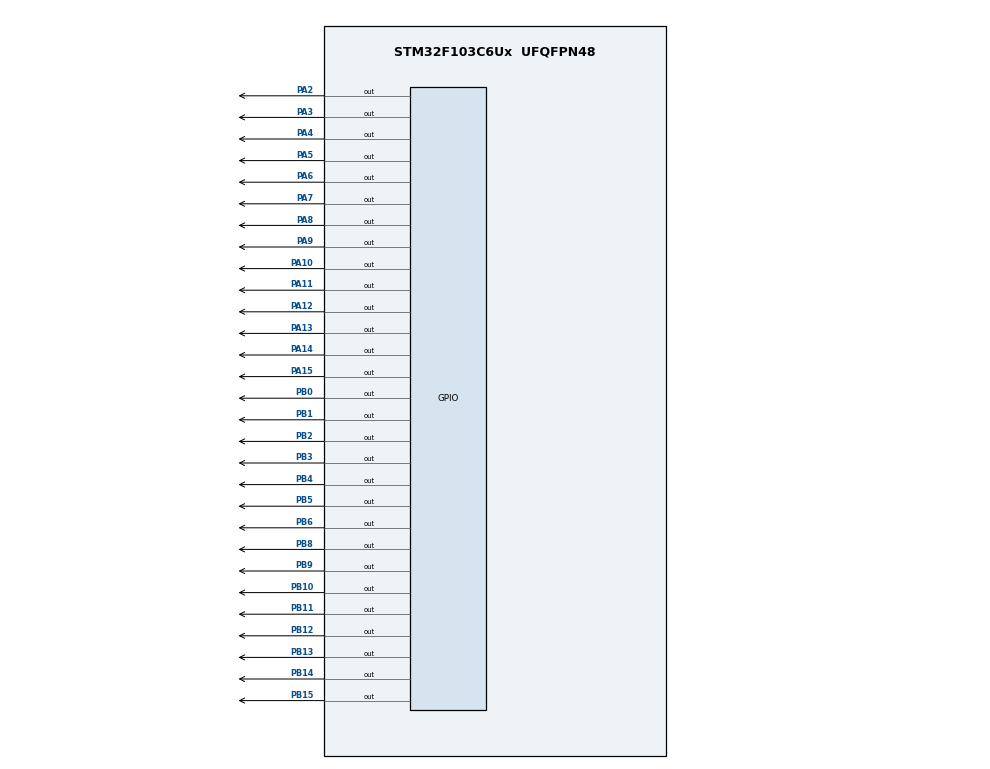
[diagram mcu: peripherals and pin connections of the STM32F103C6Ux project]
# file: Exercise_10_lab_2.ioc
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Mcu.Family=STM32F1
Mcu.Name=STM32F103C6Ux
Mcu.Package=UFQFPN48
NVIC.PriorityGroup=NVIC_PRIORITYGROUP_4
NVIC.TIM2_IRQn=true\:0\:0\:false\:false\:true\:true\:true
PA10.Signal=GPIO_Output
PA11.Signal=GPIO_Output
PA12.Signal=GPIO_Output
PA13.Signal=GPIO_Output
PA14.Signal=GPIO_Output
PA15.Signal=GPIO_Output
PA2.Signal=GPIO_Output
PA3.Signal=GPIO_Output
PA4.Signal=GPIO_Output
PA5.Signal=GPIO_Output
PA6.Signal=GPIO_Output
PA7.Signal=GPIO_Output
PA8.Signal=GPIO_Output
PA9.Signal=GPIO_Output
PB0.Signal=GPIO_Output
PB1.Signal=GPIO_Output
PB10.Signal=GPIO_Output
PB11.Signal=GPIO_Output
PB12.Signal=GPIO_Output
PB13.Signal=GPIO_Output
PB14.Signal=GPIO_Output
PB15.Signal=GPIO_Output
PB2.Signal=GPIO_Output
PB3.Signal=GPIO_Output
PB4.Signal=GPIO_Output
PB5.Signal=GPIO_Output
PB6.Signal=GPIO_Output
PB8.Signal=GPIO_Output
PB9.Signal=GPIO_Output
ProjectManager.HeapSize=0x200
ProjectManager.StackSize=0x400
ProjectManager.TargetToolchain=STM32CubeIDE
RCC.APB1Freq_Value=8000000
RCC.APB2Freq_Value=8000000
TIM2.Period=9
TIM2.Prescaler=7999
VP_SYS_VS_ND.Mode=No_Debug
VP_TIM2_VS_ClockSourceINT.Mode=Internal
board=custom

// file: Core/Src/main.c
/* USER CODE BEGIN Header */
/**
  ******************************************************************************
  * @file           : main.c
  * @brief          : Main program body
  ******************************************************************************
  * @attention
  *
  * <h2><center>&copy; Copyright (c) 2026 STMicroelectronics.
  * All rights reserved.</center></h2>
  *
  * This software component is licensed by ST under BSD 3-Clause license,
  * the "License"; You may obtain a copy of the License at:
  *                        opensource.org/licenses/BSD-3-Clause
  *
  ******************************************************************************
  */
/* USER CODE END Header */

#include "main.h"

TIM_HandleTypeDef htim2;

/* USER CODE BEGIN PV */

const int MAX_LED = 4;

int index_led = 0;
int led_buffer[4] = {1, 2, 3, 4};
int hour = 15, minute = 53, second = 50;
const int global_delay = 25;

int delay = global_delay; //changed delay here (1) cycle_time / 10
uint8_t led_count = 0;

GPIO_TypeDef *segPorts[7] =
{
    GPIOB, GPIOB, GPIOB,
    GPIOB, GPIOB, GPIOB, GPIOB
};

uint16_t segPins[7] =
{
    GPIO_PIN_0,
    GPIO_PIN_1,
    GPIO_PIN_2,
    GPIO_PIN_3,
    GPIO_PIN_4,
    GPIO_PIN_5,
    GPIO_PIN_6
};

/* MATRIX_BEGIN ------------------------------------------------------------- */
/* LED matrix: ENM0..ENM7 (column enables through the ULN2803) are on
 * PA2, PA3, PA10, PA11, PA12, PA13, PA14, PA15; ROW0..ROW7 are on PB8..PB15. */
const int MAX_LED_MATRIX = 8;
int index_led_matrix = 0;

/* One byte per COLUMN: bit k = ROWk (bit 0 = ROW0 = PB8). Letter "A". */
uint8_t matrix_buffer[8] = {0x00, 0xFC, 0x12, 0x11, 0x11, 0x12, 0xFC, 0x00};

GPIO_TypeDef *enmPorts[8] =
{
    GPIOA, GPIOA, GPIOA, GPIOA, GPIOA, GPIOA, GPIOA, GPIOA
};

uint16_t enmPins[8] =
{
    GPIO_PIN_2, GPIO_PIN_3, GPIO_PIN_10, GPIO_PIN_11,
    GPIO_PIN_12, GPIO_PIN_13, GPIO_PIN_14, GPIO_PIN_15
};

#define MATRIX_COL_ON           GPIO_PIN_RESET
#define MATRIX_COL_OFF          GPIO_PIN_SET
#define MATRIX_ROW_ACTIVE_HIGH  0
/* MATRIX_END --------------------------------------------------------------- */

/* USER CODE END PV */

void SystemClock_Config(void);
static void MX_GPIO_Init(void);
static void MX_TIM2_Init(void);

/* USER CODE BEGIN PFP */

void display7SEG(GPIO_TypeDef *ports[7], uint16_t pins[7], uint8_t num);
void update7SEG(int index);
void matrixAllOff(void);
void updateLEDMatrix(int index);
void shiftMatrixLeft(void);

/* USER CODE END PFP */

/* USER CODE BEGIN 0 */
int timer0_counter = 0;
int timer0_flag = 0;
int TIMER_CYCLE = 1;          /* ms per timer tick (TIM2 now ticks every 1 ms) */
int timer1_counter = 0;
int timer1_flag = 0;
int timer2_counter = 0;       /* LED matrix scan timer */
int timer2_flag = 0;
#define MATRIX_SCAN_MS 2      /* one column every 2 ms -> 16 ms per frame (~62 Hz) */
int timer3_counter = 0;       /* animation timer: shifts the picture */
int timer3_flag = 0;
#define MATRIX_SHIFT_MS 200   /* shift the picture one column every 200 ms */

void setTimer0(int duration ){
	timer0_counter = duration / TIMER_CYCLE ;
	timer0_flag = 0;
}
void setTimer1(int duration) {
    timer1_counter = duration / TIMER_CYCLE;
    timer1_flag = 0;
}
void setTimer2(int duration) {
    timer2_counter = duration / TIMER_CYCLE;
    timer2_flag = 0;
}
void setTimer3(int duration) {
    timer3_counter = duration / TIMER_CYCLE;
    timer3_flag = 0;
}
void timer_run() {
    if (timer0_counter > 0) {
        timer0_counter--;
        if (timer0_counter == 0) timer0_flag = 1;
    }
    if (timer1_counter > 0) {
        timer1_counter--;
        if (timer1_counter == 0) timer1_flag = 1;
    }
    if (timer2_counter > 0) {
        timer2_counter--;
        if (timer2_counter == 0) timer2_flag = 1;
    }
    if (timer3_counter > 0) {
        timer3_counter--;
        if (timer3_counter == 0) timer3_flag = 1;
    }
}

void display7SEG(GPIO_TypeDef *ports[7], uint16_t pins[7], uint8_t num)
{
    uint8_t seg[10][7] =
    {
        {0,0,0,0,0,0,1}, // 0
        {1,0,0,1,1,1,1}, // 1
        {0,0,1,0,0,1,0}, // 2
        {0,0,0,0,1,1,0}, // 3
        {1,0,0,1,1,0,0}, // 4
        {0,1,0,0,1,0,0}, // 5
        {0,1,0,0,0,0,0}, // 6
        {0,0,0,1,1,1,1}, // 7
        {0,0,0,0,0,0,0}, // 8
        {0,0,0,0,1,0,0}  // 9
    };

    if (num > 9)
        return;

    for (int i = 0; i < 7; i++)
    {
        HAL_GPIO_WritePin(ports[i], pins[i], seg[num][i]);
    }
}

void update7SEG(int index)
{
    /* Turn all displays off */
    HAL_GPIO_WritePin(GPIOA,
                      GPIO_PIN_6 | GPIO_PIN_7 |
                      GPIO_PIN_8 | GPIO_PIN_9,
                      GPIO_PIN_SET);

    switch (index)
    {
        case 0:
            display7SEG(segPorts, segPins, led_buffer[0]);
            HAL_GPIO_WritePin(GPIOA, GPIO_PIN_6, GPIO_PIN_RESET);
            break;

        case 1:
            display7SEG(segPorts, segPins, led_buffer[1]);
            HAL_GPIO_WritePin(GPIOA, GPIO_PIN_7, GPIO_PIN_RESET);
            break;

        case 2:
            display7SEG(segPorts, segPins, led_buffer[2]);
            HAL_GPIO_WritePin(GPIOA, GPIO_PIN_8, GPIO_PIN_RESET);
            break;

        case 3:
            display7SEG(segPorts, segPins, led_buffer[3]);
            HAL_GPIO_WritePin(GPIOA, GPIO_PIN_9, GPIO_PIN_RESET);
            break;

        default:
            break;
    }
}
void updateClockBuffer(void) {
    led_buffer[0] = hour / 10;
    led_buffer[1] = hour % 10;
    led_buffer[2] = minute / 10;
    led_buffer[3] = minute % 10;
}

/* MATRIX_FUNC_BEGIN -------------------------------------------------------- */
/* Disable every column (ENM pins) */
static void matrixColumnsOff(void)
{
    for (int i = 0; i < 8; i++)
        HAL_GPIO_WritePin(enmPorts[i], enmPins[i], MATRIX_COL_OFF);
}

/* Write 8 row bits to PB8..PB15 in one atomic BSRR write; PB0..PB6 (7-seg)
 * and PB7 are not touched. Bit k of 'bits' = 1 means "light ROWk". */
static void matrixWriteRows(uint8_t bits)
{
    uint8_t out = MATRIX_ROW_ACTIVE_HIGH ? bits : (uint8_t)(~bits);
    /* low half of BSRR sets pins, high half resets pins */
    GPIOB->BSRR = ((uint32_t)(uint8_t)(~out) << 24) | ((uint32_t)out << 8);
}

/* Everything off (call once at start; also makes polarity irrelevant at boot) */
void matrixAllOff(void)
{
    matrixColumnsOff();
    matrixWriteRows(0x00);
}

/* Show column 'index' (0..7): disable all columns first, put that column's
 * data on the rows, then enable only that column, so there is no ghosting. */
void updateLEDMatrix(int index)
{
    matrixColumnsOff();
    switch (index)
    {
        case 0:
        case 1:
        case 2:
        case 3:
        case 4:
        case 5:
        case 6:
        case 7:
            matrixWriteRows(matrix_buffer[index]);
            HAL_GPIO_WritePin(enmPorts[index], enmPins[index], MATRIX_COL_ON);
            break;

        default:
            break;
    }
}

/* Animation step: move the picture one column to the left. Column i takes the
 * data of column i+1 and the old first column re-enters on the right, so the
 * letter scrolls left and wraps around forever. (matrix_buffer is only used
 * from the main loop, so there is no conflict with the scanning code.) */
void shiftMatrixLeft(void)
{
    uint8_t first = matrix_buffer[0];
    for (int i = 0; i < 7; i++)
        matrix_buffer[i] = matrix_buffer[i + 1];
    matrix_buffer[7] = first;
}
/* MATRIX_FUNC_END ---------------------------------------------------------- */

/* USER CODE END 0 */

int main(void)
{

    HAL_Init();

    SystemClock_Config();

    MX_GPIO_Init();
    MX_TIM2_Init();

    /* USER CODE BEGIN 2 */

    /* EN pins are active-low */
    HAL_GPIO_WritePin(GPIOA,
                      GPIO_PIN_6 | GPIO_PIN_7 |
                      GPIO_PIN_8 | GPIO_PIN_9,
                      GPIO_PIN_SET);

    /* Middle LEDs off */
    HAL_GPIO_WritePin(GPIOA, GPIO_PIN_4, GPIO_PIN_RESET);
    matrixAllOff();
    updateClockBuffer();
    HAL_TIM_Base_Start_IT(&htim2);

    /* USER CODE END 2 */

    /* Infinite loop */
    /* USER CODE BEGIN WHILE */
    setTimer0(1000);
    setTimer1(250);
    setTimer2(MATRIX_SCAN_MS);
    setTimer3(MATRIX_SHIFT_MS);
    while (1) {
        /* Update 7-segment display every 250 ms */
        if (timer1_flag == 1) {
            timer1_flag = 0;
            update7SEG(index_led);
            index_led++;
            if (index_led >= MAX_LED) index_led = 0;
            setTimer1(250);
        }
        /* Update clock every 1 second */
        if (timer0_flag == 1) {
            timer0_flag = 0;
            second++;
            if (second >= 60) {
                second = 0;
                minute++;
            }
            if (minute >= 60) {
                minute = 0;
                hour++;
            }
            if (hour >= 24) hour = 0;
            updateClockBuffer();
            HAL_GPIO_TogglePin(GPIOA, GPIO_PIN_4);
            setTimer0(1000);
        }
        /* Scan the LED matrix: one column every MATRIX_SCAN_MS */
        if (timer2_flag == 1) {
            timer2_flag = 0;
            updateLEDMatrix(index_led_matrix);
            index_led_matrix++;
            if (index_led_matrix >= MAX_LED_MATRIX) index_led_matrix = 0;
            setTimer2(MATRIX_SCAN_MS);
        }
        /* Animation: shift the letter one column to the left every MATRIX_SHIFT_MS */
        if (timer3_flag == 1) {
            timer3_flag = 0;
            shiftMatrixLeft();
            setTimer3(MATRIX_SHIFT_MS);
        }
    }
}

void SystemClock_Config(void)
{
    RCC_OscInitTypeDef RCC_OscInitStruct = {0};
    RCC_ClkInitTypeDef RCC_ClkInitStruct = {0};

    RCC_OscInitStruct.OscillatorType = RCC_OSCILLATORTYPE_HSI;
    RCC_OscInitStruct.HSIState = RCC_HSI_ON;
    RCC_OscInitStruct.HSICalibrationValue = RCC_HSICALIBRATION_DEFAULT;
    RCC_OscInitStruct.PLL.PLLState = RCC_PLL_NONE;

    if (HAL_RCC_OscConfig(&RCC_OscInitStruct) != HAL_OK)
    {
        Error_Handler();
    }

    RCC_ClkInitStruct.ClockType =
        RCC_CLOCKTYPE_HCLK |
        RCC_CLOCKTYPE_SYSCLK |
        RCC_CLOCKTYPE_PCLK1 |
        RCC_CLOCKTYPE_PCLK2;

    RCC_ClkInitStruct.SYSCLKSource = RCC_SYSCLKSOURCE_HSI;
    RCC_ClkInitStruct.AHBCLKDivider = RCC_SYSCLK_DIV1;
    RCC_ClkInitStruct.APB1CLKDivider = RCC_HCLK_DIV1;
    RCC_ClkInitStruct.APB2CLKDivider = RCC_HCLK_DIV1;

    if (HAL_RCC_ClockConfig(&RCC_ClkInitStruct, FLASH_LATENCY_0) != HAL_OK)
    {
        Error_Handler();
    }
}

static void MX_TIM2_Init(void)
{

    TIM_ClockConfigTypeDef sClockSourceConfig = {0};
    TIM_MasterConfigTypeDef sMasterConfig = {0};

    htim2.Instance = TIM2;
    htim2.Init.Prescaler = 799;      /* 8 MHz / 800 = 10 kHz (was 7999 -> 1 kHz) */
    htim2.Init.CounterMode = TIM_COUNTERMODE_UP;
    htim2.Init.Period = 9;           /* 10 counts at 10 kHz = 1 ms per interrupt */
    htim2.Init.ClockDivision = TIM_CLOCKDIVISION_DIV1;
    htim2.Init.AutoReloadPreload = TIM_AUTORELOAD_PRELOAD_DISABLE;

    if (HAL_TIM_Base_Init(&htim2) != HAL_OK)
    {
        Error_Handler();
    }

    sClockSourceConfig.ClockSource = TIM_CLOCKSOURCE_INTERNAL;

    if (HAL_TIM_ConfigClockSource(&htim2, &sClockSourceConfig) != HAL_OK)
    {
        Error_Handler();
    }

    sMasterConfig.MasterOutputTrigger = TIM_TRGO_RESET;
    sMasterConfig.MasterSlaveMode = TIM_MASTERSLAVEMODE_DISABLE;

    if (HAL_TIMEx_MasterConfigSynchronization(&htim2, &sMasterConfig) != HAL_OK)
    {
        Error_Handler();
    }

}

static void MX_GPIO_Init(void)
{
    GPIO_InitTypeDef GPIO_InitStruct = {0};

    /* GPIO Ports Clock Enable */
    __HAL_RCC_GPIOA_CLK_ENABLE();
    __HAL_RCC_GPIOB_CLK_ENABLE();

    /* GPIOA initial state: PA2/PA3 = ENM0/ENM1, PA4 = DOT, PA5 = D1,
     * PA6..PA9 = EN0..EN3, PA10..PA15 = ENM2..ENM7 */
    HAL_GPIO_WritePin(GPIOA,
                      GPIO_PIN_2 | GPIO_PIN_3 |
                      GPIO_PIN_4 | GPIO_PIN_5 |
                      GPIO_PIN_6 | GPIO_PIN_7 |
                      GPIO_PIN_8 | GPIO_PIN_9 |
                      GPIO_PIN_10 | GPIO_PIN_11 |
                      GPIO_PIN_12 | GPIO_PIN_13 |
                      GPIO_PIN_14 | GPIO_PIN_15,
                      GPIO_PIN_RESET);

    /* GPIOB initial state: PB0..PB6 = SEG0..SEG6, PB8..PB15 = ROW0..ROW7 */
    HAL_GPIO_WritePin(GPIOB,
                      GPIO_PIN_0 | GPIO_PIN_1 |
                      GPIO_PIN_2 | GPIO_PIN_3 |
                      GPIO_PIN_4 | GPIO_PIN_5 |
                      GPIO_PIN_6 |
                      GPIO_PIN_8 | GPIO_PIN_9 |
                      GPIO_PIN_10 | GPIO_PIN_11 |
                      GPIO_PIN_12 | GPIO_PIN_13 |
                      GPIO_PIN_14 | GPIO_PIN_15,
                      GPIO_PIN_RESET);

    /* PA2..PA15 */
    GPIO_InitStruct.Pin =
        GPIO_PIN_2 | GPIO_PIN_3 |
        GPIO_PIN_4 | GPIO_PIN_5 |
        GPIO_PIN_6 | GPIO_PIN_7 |
        GPIO_PIN_8 | GPIO_PIN_9 |
        GPIO_PIN_10 | GPIO_PIN_11 |
        GPIO_PIN_12 | GPIO_PIN_13 |
        GPIO_PIN_14 | GPIO_PIN_15;

    GPIO_InitStruct.Mode = GPIO_MODE_OUTPUT_PP;
    GPIO_InitStruct.Pull = GPIO_NOPULL;
    GPIO_InitStruct.Speed = GPIO_SPEED_FREQ_LOW;

    HAL_GPIO_Init(GPIOA, &GPIO_InitStruct);

    /* PB0..PB6 and PB8..PB15 */
    GPIO_InitStruct.Pin =
        GPIO_PIN_0 | GPIO_PIN_1 |
        GPIO_PIN_2 | GPIO_PIN_3 |
        GPIO_PIN_4 | GPIO_PIN_5 |
        GPIO_PIN_6 |
        GPIO_PIN_8 | GPIO_PIN_9 |
        GPIO_PIN_10 | GPIO_PIN_11 |
        GPIO_PIN_12 | GPIO_PIN_13 |
        GPIO_PIN_14 | GPIO_PIN_15;

    GPIO_InitStruct.Mode = GPIO_MODE_OUTPUT_PP;
    GPIO_InitStruct.Pull = GPIO_NOPULL;
    GPIO_InitStruct.Speed = GPIO_SPEED_FREQ_LOW;

    HAL_GPIO_Init(GPIOB, &GPIO_InitStruct);
}

/* USER CODE BEGIN 4 */

void HAL_TIM_PeriodElapsedCallback(TIM_HandleTypeDef *htim) {
    if (htim->Instance == TIM2) timer_run();
}
/* USER CODE END 4 */

void Error_Handler(void)
{
    __disable_irq();
    while (1)
    {
    }
}

/************************ (C) COPYRIGHT STMicroelectronics *****END OF FILE****/
